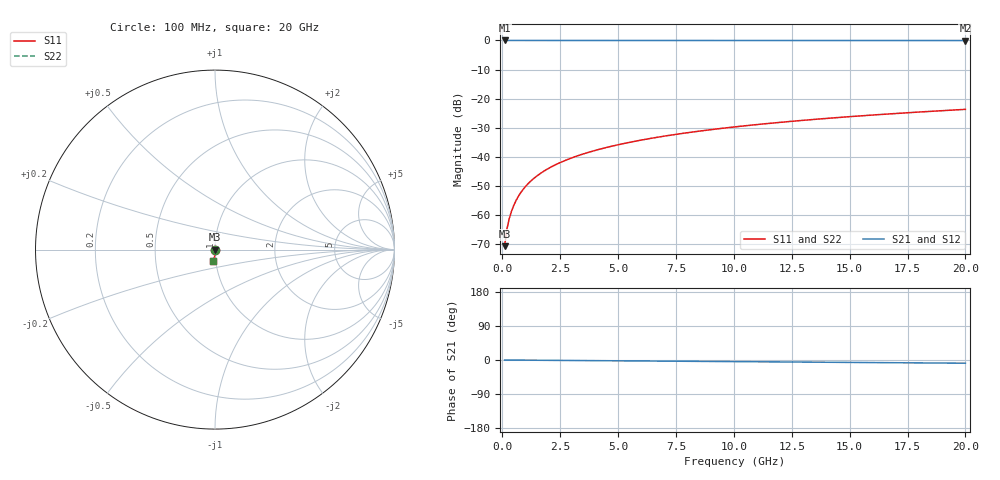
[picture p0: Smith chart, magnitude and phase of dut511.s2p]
! Touchstone file exported from HFSS 2026.1.0
!  File:  C:/ffzhzh/LocalFiles/Ansys_Project_Files/temp_train_TSV_511_1783023292_51716.aedt
!  Generated:  04:16:22 AM Jul  3, 2026
!  Design:  TSV
!  Project:  temp_train_TSV_511_1783023292_51716
! Variables:
!  h_bsmrdl = 2um
!  h_ox = 20um
!  h_rdl = 5um
!  h_sub = 79.46um
!  h_tmrdl = 5um
!  h_tsv = 79.46um
!  h_via = 3um
!  l_bsmrdl = 300um
!  l_sub = 428.64um
!  l_tmrdl = 200um
!  m_sub = 200um
!  pitch = 39.2um
!  r_tsv = 14.32um
!  s_tmrdl = 10um
!  w_bsmrdl = 18um
!  w_sub = 500um
!  w_tmrdl = 12um
!  x_tsv_center1 = 206um
!  x_tsv_center2 = 524um
!  x_tsv_center3 = 736um
!  x_tsv_center4 = 1054um
!  x_tsv_center5 = 1266um
!  x_tsv_center6 = 1584um
# GHz S MA R 50.000000
! Terminal data exported
! Port[1] = TSV1_1_T1
! Port[2] = TSV1_1_T2
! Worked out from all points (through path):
!   200 points, 100 MHz to 20 GHz, reference 50 ohm
!   highest |S21| = 0.00 dB at 100 MHz (marker M1); lowest = 0.0 dB at 20 GHz (marker M2)
!   group delay of S21, straight-line fit = 1.18 ps
!   lowest |S11| = -70.7 dB at 100 MHz (marker M3), VSWR 1.00, Z = 50 - j0.0281 ohm
!   |S11| at or under -10 dB: start of sweep to end of sweep
!   |S22| runs from -70.7 to -23.7 dB; largest |S21 - S12| = 5.2e-15
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0.1  0.0002931 -73.6  0.9999 -0.0  0.9999 -0.0  0.0002931 -73.6
! Gamma 0 0 0 0
! Port Impedance 50 0 50 0
0.2  0.0005759 -80.1  0.9999 -0.1  0.9999 -0.1  0.0005759 -80.1
0.3  0.0008699 -82.0  0.9999 -0.1  0.9999 -0.1  0.0008699 -82.0
0.4  0.001173 -82.8  0.9998 -0.2  0.9998 -0.2  0.001173 -82.8
0.5  0.001484 -83.4  0.9998 -0.2  0.9998 -0.2  0.001484 -83.4
0.7  0.002122 -84.2  0.9998 -0.3  0.9998 -0.3  0.002122 -84.2
0.8  0.002446 -84.6  0.9998 -0.4  0.9998 -0.4  0.002446 -84.6
1  0.003097 -85.3  0.9997 -0.4  0.9997 -0.4  0.003097 -85.3
1.2  0.00375 -85.9  0.9997 -0.5  0.9997 -0.5  0.00375 -85.9
1.4  0.004403 -86.4  0.9997 -0.6  0.9997 -0.6  0.004403 -86.4
1.7  0.005383 -87.0  0.9996 -0.7  0.9996 -0.7  0.005383 -87.0
2  0.006362 -87.5  0.9996 -0.9  0.9996 -0.9  0.006362 -87.5
2.7  0.008645 -88.4  0.9995 -1.2  0.9995 -1.2  0.008645 -88.4
3.5  0.01126 -89.1  0.9995 -1.5  0.9995 -1.5  0.01126 -89.1
4.2  0.01355 -89.6  0.9994 -1.8  0.9994 -1.8  0.01355 -89.6
5  0.01617 -90.1  0.9993 -2.1  0.9993 -2.1  0.01617 -90.1
6.8  0.0221 -91.2  0.9991 -2.9  0.9991 -2.9  0.0221 -91.2
8.3  0.02704 -92.0  0.9989 -3.5  0.9989 -3.5  0.02704 -92.0
10.1  0.03298 -92.9  0.9986 -4.3  0.9986 -4.3  0.03298 -92.9
13.4  0.04386 -94.5  0.9981 -5.7  0.9981 -5.7  0.04386 -94.5
16.7  0.05472 -96.0  0.9974 -7.1  0.9974 -7.1  0.05472 -96.0
20  0.06555 -97.5  0.9967 -8.5  0.9967 -8.5  0.06555 -97.5
